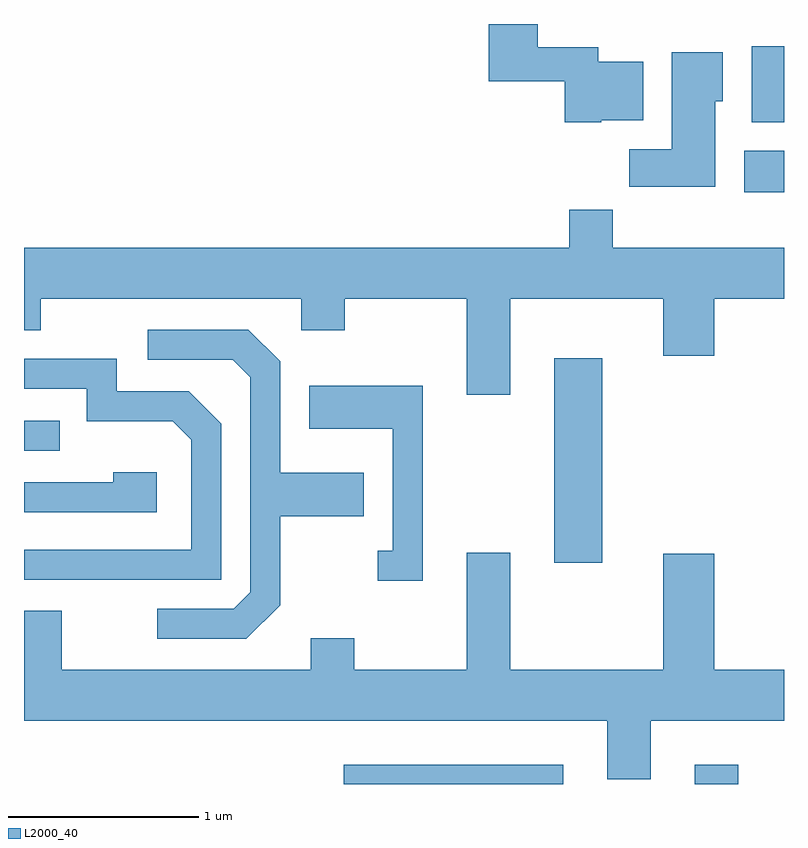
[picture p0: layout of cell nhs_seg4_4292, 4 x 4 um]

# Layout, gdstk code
import gdstk
lib = gdstk.Library(unit=1e-6, precision=1e-09)
def R(c, l, rs):  # rectangles x0, y0, x1, y1
    for r in rs: c.add(gdstk.rectangle(r[:2], r[2:], *l))
def P(c, l, *ps):  # polygons
    for p in ps: c.add(gdstk.Polygon(p, *l))
L2000_40 = (2000, 40)

nhs_seg4_4292 = lib.new_cell('nhs_seg4_4292')
R(nhs_seg4_4292, L2000_40, [(313.293,1269.982,314.449,1270.084), (315.141,1269.982,315.369,1270.084), (314.401,1271.146,314.654,1272.224), (311.611,1271.736,311.798,1271.894), (315.401,1273.096,315.611,1273.314), (315.441,1273.466,315.611,1273.864)])
P(nhs_seg4_4292, L2000_40, [(314.65,1273.476),(314.869,1273.476),(314.869,1273.784),(314.634,1273.784),(314.634,1273.859),(314.314,1273.859),(314.314,1273.982),(314.056,1273.982),(314.056,1273.681),(314.456,1273.681),(314.456,1273.466),(314.65,1273.466)],
  [(315.249,1273.576),(315.289,1273.576),(315.289,1273.834),(315.021,1273.834),(315.021,1273.324),(314.796,1273.324),(314.796,1273.126),(315.249,1273.126)],
  [(314.169,1272.536),(314.976,1272.536),(314.976,1272.236),(315.244,1272.236),(315.244,1272.536),(315.611,1272.536),(315.611,1272.804),(314.709,1272.804),(314.709,1273.004),(314.481,1273.004),(314.481,1272.804),(311.611,1272.804),(311.611,1272.371),(311.699,1272.371),(311.699,1272.536),(313.071,1272.536),(313.071,1272.371),(313.299,1272.371),(313.299,1272.536),(313.941,1272.536),(313.941,1272.031),(314.169,1272.031)],
  [(312.959,1270.924),(312.959,1271.391),(313.399,1271.391),(313.399,1271.619),(312.959,1271.619),(312.959,1272.207),(312.792,1272.374),(312.263,1272.374),(312.263,1272.216),(312.709,1272.216),(312.801,1272.124),(312.801,1270.992),(312.714,1270.904),(312.313,1270.904),(312.313,1270.746),(312.782,1270.746)],
  [(312.649,1271.877),(312.477,1272.049),(312.099,1272.049),(312.099,1272.219),(311.611,1272.219),(311.611,1272.061),(311.941,1272.061),(311.941,1271.891),(312.394,1271.891),(312.491,1271.794),(312.491,1271.214),(311.611,1271.214),(311.611,1271.056),(312.649,1271.056)],
  [(313.709,1272.079),(313.111,1272.079),(313.111,1271.851),(313.551,1271.851),(313.551,1271.209),(313.473,1271.209),(313.473,1271.051),(313.709,1271.051)],
  [(312.309,1271.624),(312.081,1271.624),(312.081,1271.569),(311.611,1271.569),(311.611,1271.411),(312.309,1271.411)],
  [(314.909,1270.316),(315.611,1270.316),(315.611,1270.584),(315.244,1270.584),(315.244,1271.194),(314.976,1271.194),(314.976,1270.584),(314.169,1270.584),(314.169,1271.199),(313.941,1271.199),(313.941,1270.584),(313.349,1270.584),(313.349,1270.749),(313.121,1270.749),(313.121,1270.584),(311.809,1270.584),(311.809,1270.894),(311.611,1270.894),(311.611,1270.316),(314.681,1270.316),(314.681,1270.006),(314.909,1270.006)])

lib.write_gds('nhs_seg4_4292.gds')
